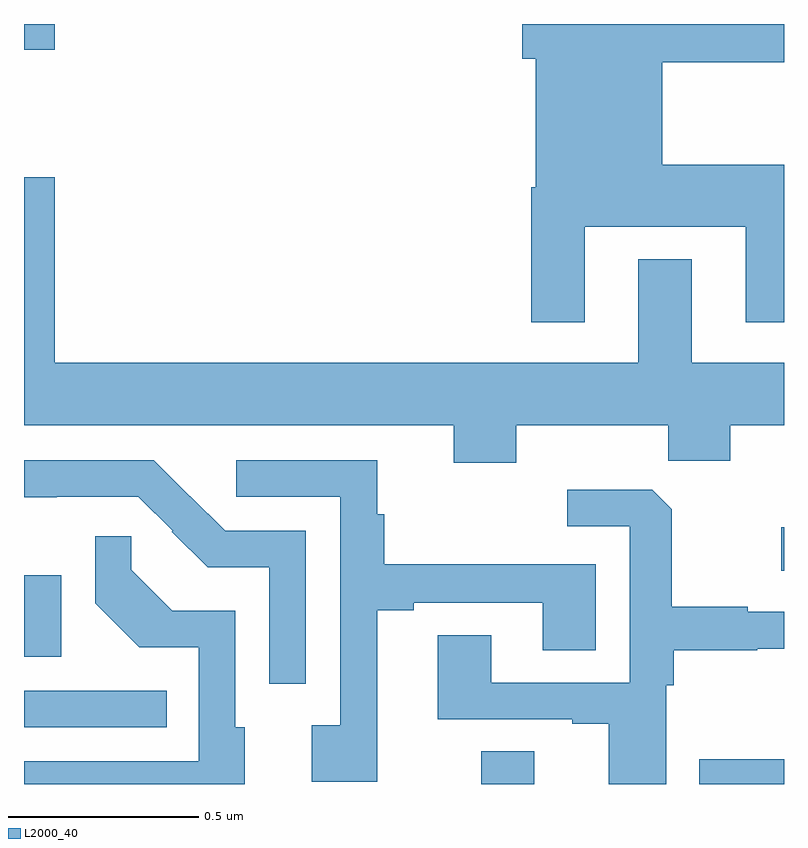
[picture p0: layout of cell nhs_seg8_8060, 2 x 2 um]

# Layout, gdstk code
import gdstk
lib = gdstk.Library(unit=1e-6, precision=1e-09)
def R(c, l, rs):  # rectangles x0, y0, x1, y1
    for r in rs: c.add(gdstk.rectangle(r[:2], r[2:], *l))
def P(c, l, *ps):  # polygons
    for p in ps: c.add(gdstk.Polygon(p, *l))
L2000_40 = (2000, 40)

nhs_seg8_8060 = lib.new_cell('nhs_seg8_8060')
R(nhs_seg8_8060, L2000_40, [(219.203,1104.9,219.343,1104.986), (219.777,1104.9,220,1104.965), (218,1105.05,218.375,1105.146), (218,1105.235,218.098,1105.45), (219.993,1105.461,220,1105.576), (218,1106.832,218.081,1106.9)])
P(nhs_seg8_8060, L2000_40, [(219.475,1106.366),(219.899,1106.366),(219.899,1106.115),(220,1106.115),(220,1106.53),(219.679,1106.53),(219.679,1106.8),(220,1106.8),(220,1106.9),(219.311,1106.9),(219.311,1106.808),(219.347,1106.808),(219.347,1106.47),(219.335,1106.47),(219.335,1106.115),(219.475,1106.115)],
  [(219.295,1105.844),(219.695,1105.844),(219.695,1105.751),(219.859,1105.751),(219.859,1105.844),(220,1105.844),(220,1106.008),(219.757,1106.008),(219.757,1106.281),(219.617,1106.281),(219.617,1106.008),(218.081,1106.008),(218.081,1106.497),(218,1106.497),(218,1105.844),(219.131,1105.844),(219.131,1105.745),(219.295,1105.745)],
  [(218.742,1105.566),(218.529,1105.566),(218.438,1105.657),(218.437,1105.656),(218.341,1105.752),(218,1105.752),(218,1105.655),(218.086,1105.655),(218.086,1105.656),(218.301,1105.656),(218.391,1105.566),(218.389,1105.564),(218.483,1105.47),(218.646,1105.47),(218.646,1105.164),(218.742,1105.164)],
  [(218.929,1105.357),(219.025,1105.357),(219.025,1105.377),(219.365,1105.377),(219.365,1105.252),(219.505,1105.252),(219.505,1105.478),(218.948,1105.478),(218.948,1105.61),(218.93,1105.61),(218.93,1105.752),(218.559,1105.752),(218.559,1105.656),(218.832,1105.656),(218.832,1105.054),(218.757,1105.054),(218.757,1104.906),(218.929,1104.906)],
  [(219.69,1105.16),(219.71,1105.16),(219.71,1105.252),(219.929,1105.252),(219.929,1105.256),(220,1105.256),(220,1105.353),(219.905,1105.353),(219.905,1105.366),(219.705,1105.366),(219.705,1105.623),(219.653,1105.675),(219.429,1105.675),(219.429,1105.578),(219.594,1105.578),(219.594,1105.167),(219.229,1105.167),(219.229,1105.292),(219.089,1105.292),(219.089,1105.071),(219.443,1105.071),(219.443,1105.059),(219.539,1105.059),(219.539,1104.9),(219.69,1104.9)],
  [(218.581,1105.05),(218.556,1105.05),(218.556,1105.356),(218.39,1105.356),(218.282,1105.464),(218.282,1105.552),(218.187,1105.552),(218.187,1105.376),(218.303,1105.26),(218.46,1105.26),(218.46,1104.96),(218,1104.96),(218,1104.9),(218.581,1104.9)])

lib.write_gds('nhs_seg8_8060.gds')
